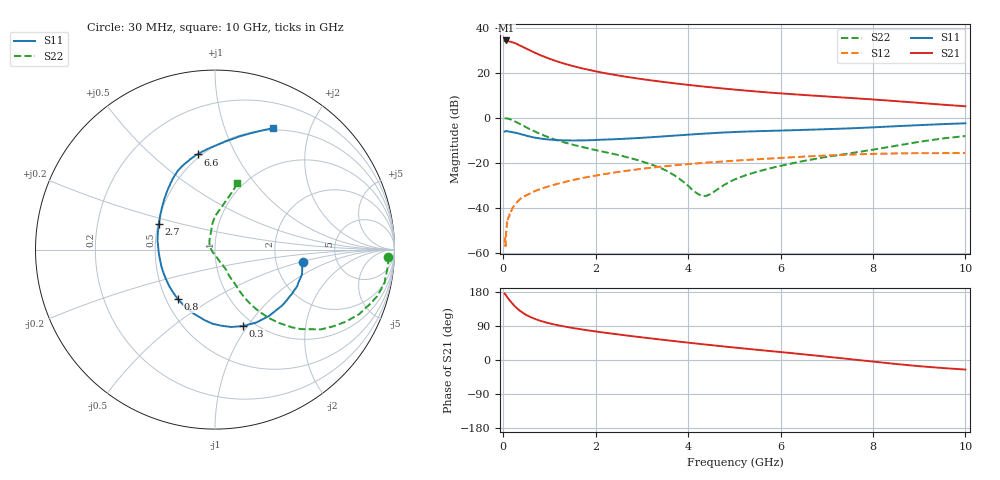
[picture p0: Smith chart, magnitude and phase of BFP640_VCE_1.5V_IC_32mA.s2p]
! Infineon Technologies  Discrete & RF Semiconductors
! BFP640
! VCE =  1.5 V,  IC =  32 mA
! Common Emitter S-Parameters:  Apr 2013
# GHz  S  MA  R  50
!  f  S11  S21  S12  S22
! GHz  MAG  ANG  MAG  ANG  MAG  ANG  MAG  ANG
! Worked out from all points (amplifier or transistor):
!   99 points, 30 MHz to 10 GHz, reference 50 ohm
!   highest |S21| = 34.3 dB at 70 MHz (marker M1)
!   |S21| within 3 dB of that: start of sweep to 439.2 MHz
!   unconditionally stable (mu >= 1): 2.019 GHz to end of sweep
!   at 350 MHz: K = 0.38, MSG = 34.3 dB, |S12| = -36.5 dB
!   at 3.5 GHz: K = 1.06, MAG = 17.2 dB, |S12| = -21.6 dB
!   at 10 GHz: K = 1.07, MAG = 8.8 dB, |S12| = -15.7 dB
!   S11 on the Smith chart (normalised r, x): 30 MHz: 2.84, -0.51; 300 MHz: 0.89, -0.95; 800 MHz: 0.58, -0.36; 2.7 GHz: 0.51, +0.16; 6.6 GHz: 0.48, +0.71; 10 GHz: 0.48, +1.48
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0.03  0.4928 -8.0  50.16 175.5  0.0017 99.3  0.9654 -2.5
0.05  0.4995 -13.4  51.47 172.6  0.0014 69.4  0.9663 -5.6
0.07  0.5017 -18.6  51.93 168.8  0.0029 63.2  0.9636 -8.1
0.15  0.4871 -39.4  49.17 156.0  0.0074 77.3  0.9214 -18.6
0.2  0.4768 -51.1  47.22 148.6  0.0098 74.5  0.8793 -24.2
0.25  0.4667 -60.7  45.47 142.1  0.0116 71.7  0.8315 -28.9
0.3  0.4534 -69.9  43.12 136.2  0.0133 68.0  0.7831 -33.2
0.4  0.4253 -85.2  38.58 126.6  0.0167 65.4  0.6887 -40.1
0.5  0.3983 -98.0  34.2 118.9  0.0189 64.7  0.6095 -45.3
0.6  0.376 -108.5  30.55 112.8  0.0212 61.9  0.5406 -49.0
0.8  0.3452 -126.6  24.57 103.5  0.0259 61.2  0.4367 -53.9
1  0.3269 -140.9  20.4 96.7  0.0303 60.2  0.3625 -56.9
1.2  0.3164 -152.8  17.34 91.3  0.0346 59.5  0.3085 -58.6
1.7  0.313 -175.4  12.53 80.7  0.0454 57.2  0.2243 -59.7
2.7  0.3438 155.6  7.988 64.2  0.0667 50.8  0.1307 -61.1
3.4  0.3801 140.6  6.349 54.1  0.0814 44.8  0.0764 -67.3
4.3  0.4388 124.9  4.962 41.8  0.0983 36.8  0.0182 -137.9
5.1  0.4855 115.1  4.123 31.7  0.1124 29.9  0.0467 132.3
6.6  0.5392 100.4  3.147 13.7  0.1382 16.5  0.1141 100.3
6.7  0.5439 99.3  3.099 12.5  0.1397 15.6  0.1191 99.3
8.5  0.6466 77.6  2.331 -10.5  0.161 -2.8  0.238 81.5
10  0.7503 64.4  1.793 -25.2  0.1638 -14.7  0.3907 71.4
